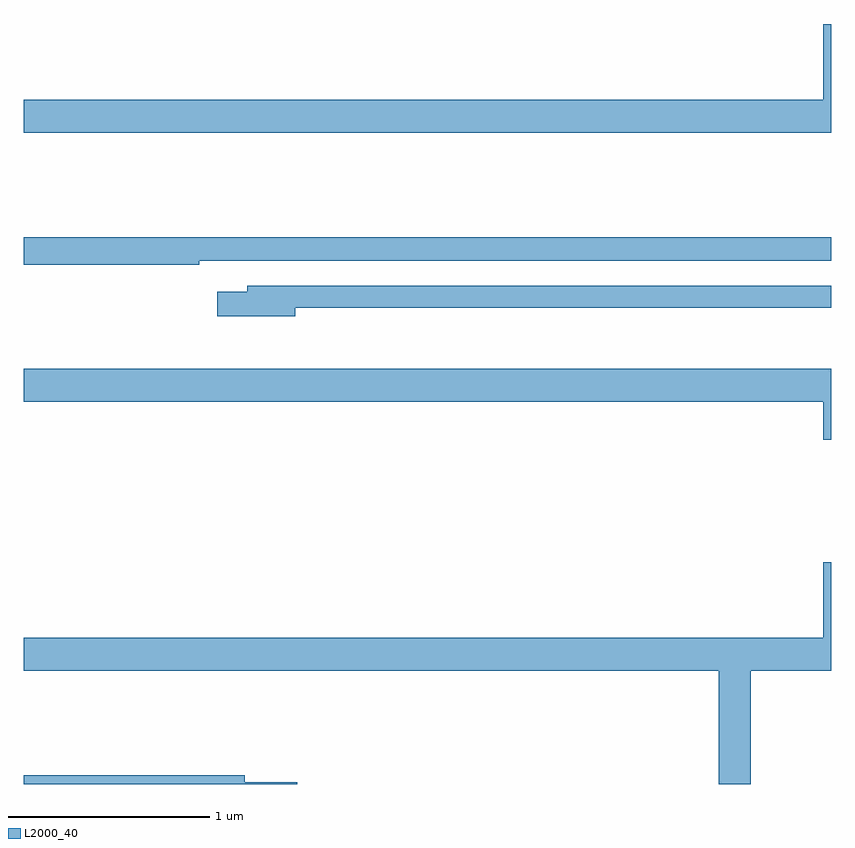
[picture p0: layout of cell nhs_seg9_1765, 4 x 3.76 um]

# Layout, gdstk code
import gdstk
lib = gdstk.Library(unit=1e-6, precision=1e-09)
def P(c, l, *ps):  # polygons
    for p in ps: c.add(gdstk.Polygon(p, *l))
L2000_40 = (2000, 40)

nhs_seg9_1765 = lib.new_cell('nhs_seg9_1765')
P(nhs_seg9_1765, L2000_40, [(213,1226.263),(212.96,1226.263),(212.96,1225.888),(209,1225.888),(209,1225.724),(213,1225.724)],
  [(209.87,1225.092),(213,1225.092),(213,1225.208),(209,1225.208),(209,1225.072),(209.87,1225.072)],
  [(210.346,1224.858),(213,1224.858),(213,1224.966),(210.107,1224.966),(210.107,1224.937),(209.958,1224.937),(209.958,1224.815),(210.346,1224.815)],
  [(213,1224.556),(209,1224.556),(209,1224.392),(212.96,1224.392),(212.96,1224.204),(213,1224.204)],
  [(212.601,1223.06),(213,1223.06),(213,1223.599),(212.96,1223.599),(212.96,1223.224),(209,1223.224),(209,1223.06),(212.441,1223.06),(212.441,1222.5),(212.601,1222.5)],
  [(210.355,1222.508),(210.094,1222.508),(210.094,1222.544),(209,1222.544),(209,1222.5),(210.355,1222.5)])

lib.write_gds('nhs_seg9_1765.gds')
